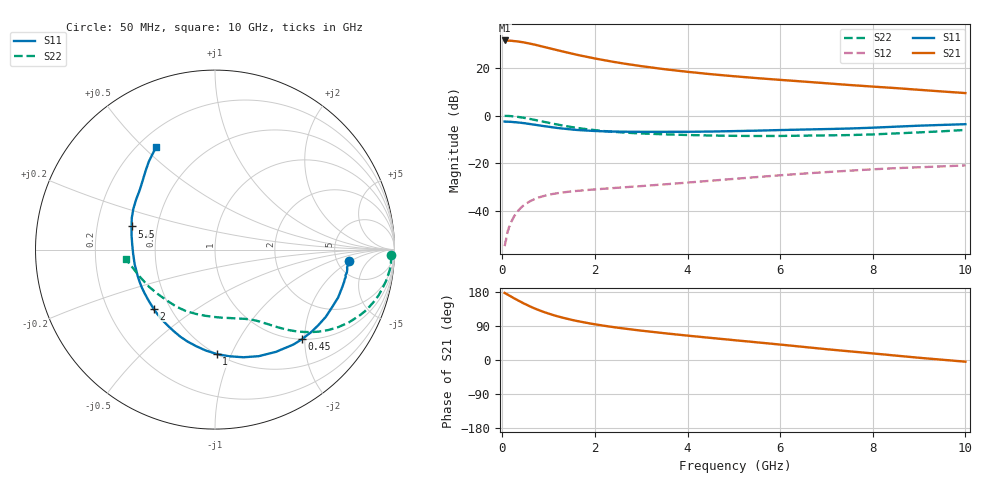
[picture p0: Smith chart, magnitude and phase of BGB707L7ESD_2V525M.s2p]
!  Infineon Technologies AG
!  BGB707L7ESD
!  Vce = 2.5V, Ic = 25.0mA
!  DATUM: 30.06.2009 10:17:24
# GHz  S  MA  R  50
!f  S11  S21  S12  S22
!GHz  Mag  Ang  Mag  Ang  Mag  Ang  Mag  Ang
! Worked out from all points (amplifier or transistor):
!   52 points, 50 MHz to 10 GHz, reference 50 ohm
!   highest |S21| = 31.4 dB at 60 MHz (marker M1)
!   |S21| within 3 dB of that: start of sweep to 962.7 MHz
!   unconditionally stable (mu >= 1): 3.821 GHz to 8.498 GHz
!   at 130 MHz: K = 0.08, MSG = 39.7 dB, |S12| = -47.9 dB
!   at 1.4 GHz: K = 0.48, MSG = 29.2 dB, |S12| = -32.0 dB
!   at 10 GHz: K = 0.92, MSG = 15.1 dB, |S12| = -20.9 dB
!   S11 on the Smith chart (normalised r, x): 50 MHz: 6.36, -1.87; 450 MHz: 1.00, -1.94; 1 GHz: 0.50, -0.88; 2 GHz: 0.41, -0.34; 5.5 GHz: 0.35, +0.12; 10 GHz: 0.27, +0.55
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0.05  0.7476 -5.0  36.62 177.1  0.001841 89.2  0.9811 -1.8
0.06  0.7467 -6.6  37.28 176.4  0.002 88.1  0.9822 -2.4
0.08  0.745 -8.5  36.78 174.8  0.002466 85.9  0.9827 -3.7
0.09  0.7458 -9.8  37.1 174.7  0.002907 82.7  0.9831 -4.3
0.1  0.741 -11.0  36.87 173.4  0.00316 85.2  0.9821 -4.9
0.2  0.7362 -21.3  36.71 166.8  0.006126 79.4  0.9691 -10.4
0.35  0.7131 -36.3  35.29 156.6  0.01034 72.2  0.9331 -18.0
0.45  0.6957 -45.9  34.15 150.1  0.01288 68.6  0.9018 -22.5
0.6  0.6632 -59.2  31.94 141.3  0.01608 62.9  0.8476 -28.7
0.7  0.642 -67.7  30.45 135.9  0.01786 59.9  0.8103 -32.3
1  0.5822 -89.0  25.86 122.5  0.02187 52.8  0.705 -40.7
1.2  0.5475 -101.3  23.17 115.0  0.02372 49.6  0.6451 -45.0
1.4  0.5221 -111.8  20.87 108.8  0.02517 47.6  0.5954 -48.4
1.8  0.4865 -128.9  17.13 98.6  0.02741 45.6  0.5212 -53.7
2  0.4746 -136.2  15.64 94.2  0.02841 45.4  0.4945 -56.0
2.6  0.4592 -152.6  12.36 83.6  0.03132 46.3  0.4417 -62.2
3.5  0.4551 -169.6  9.335 70.7  0.03622 49.0  0.404 -71.9
4.5  0.4619 176.6  7.342 58.3  0.04314 51.6  0.3819 -83.6
5.5  0.4823 164.5  6.066 46.6  0.05148 52.5  0.3726 -98.4
7  0.5206 147.6  4.733 28.5  0.06544 50.1  0.3838 -124.1
8.5  0.5844 131.5  3.748 11.6  0.07909 44.8  0.422 -150.6
10  0.6582 120.0  2.951 -4.5  0.09043 39.5  0.4995 -173.8
